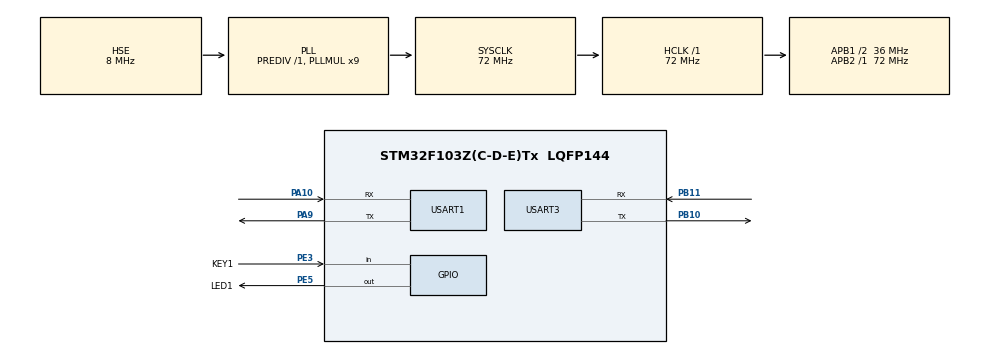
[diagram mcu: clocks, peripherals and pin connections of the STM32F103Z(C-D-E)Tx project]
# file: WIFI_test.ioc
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Mcu.Family=STM32F1
Mcu.Name=STM32F103Z(C-D-E)Tx
Mcu.Package=LQFP144
NVIC.PriorityGroup=NVIC_PRIORITYGROUP_4
NVIC.TIM2_IRQn=true\:1\:0\:true\:false\:true\:true\:true
NVIC.USART1_IRQn=true\:3\:0\:true\:false\:true\:true\:true
NVIC.USART3_IRQn=true\:2\:0\:true\:false\:true\:true\:true
OSC_IN.Mode=HSE-External-Oscillator
OSC_IN.Signal=RCC_OSC_IN
OSC_OUT.Mode=HSE-External-Oscillator
OSC_OUT.Signal=RCC_OSC_OUT
PA10.Mode=Asynchronous
PA10.Signal=USART1_RX
PA13.Mode=Serial_Wire
PA13.Signal=SYS_JTMS-SWDIO
PA14.Mode=Serial_Wire
PA14.Signal=SYS_JTCK-SWCLK
PA9.Mode=Asynchronous
PA9.Signal=USART1_TX
PB10.Mode=Asynchronous
PB10.Signal=USART3_TX
PB11.Mode=Asynchronous
PB11.Signal=USART3_RX
PC14-OSC32_IN.Mode=LSE-External-Oscillator
PC14-OSC32_IN.Signal=RCC_OSC32_IN
PC15-OSC32_OUT.Mode=LSE-External-Oscillator
PC15-OSC32_OUT.Signal=RCC_OSC32_OUT
PE3.GPIO_Label=KEY1
PE3.GPIO_PuPd=GPIO_PULLUP
PE3.Signal=GPIO_Input
PE5.GPIO_Label=LED1
PE5.GPIO_ModeDefaultOutputPP=GPIO_MODE_OUTPUT_PP
PE5.GPIO_PuPd=GPIO_PULLUP
PE5.PinState=GPIO_PIN_SET
PE5.Signal=GPIO_Output
ProjectManager.HeapSize=0x800
ProjectManager.StackSize=0x800
ProjectManager.TargetToolchain=MDK-ARM V5
RCC.AHBFreq_Value=72000000
RCC.APB1CLKDivider=RCC_HCLK_DIV2
RCC.APB1Freq_Value=36000000
RCC.APB1TimFreq_Value=72000000
RCC.APB2Freq_Value=72000000
RCC.APB2TimFreq_Value=72000000
RCC.HCLKFreq_Value=72000000
RCC.PLLMUL=RCC_PLL_MUL9
RCC.PLLSourceVirtual=RCC_PLLSOURCE_HSE
RCC.SYSCLKFreq_VALUE=72000000
RCC.SYSCLKSource=RCC_SYSCLKSOURCE_PLLCLK
RCC.USBFreq_Value=72000000
TIM2.Period=1000-1
TIM2.Prescaler=7200-1
USART1.VirtualMode=VM_ASYNC
USART3.VirtualMode=VM_ASYNC
VP_TIM2_VS_ClockSourceINT.Mode=Internal
board=custom

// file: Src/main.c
/* USER CODE BEGIN Header */
/**
  ******************************************************************************
  * @file           : main.c
  * @brief          : Main program body
  ******************************************************************************
  * @attention
  *
  * <h2><center>&copy; Copyright (c) 2020 STMicroelectronics.
  * All rights reserved.</center></h2>
  *
  * This software component is licensed by ST under BSD 3-Clause license,
  * the "License"; You may not use this file except in compliance with the
  * License. You may obtain a copy of the License at:
  *                        opensource.org/licenses/BSD-3-Clause
  *
  ******************************************************************************
  */
/* USER CODE END Header */

#include "main.h"
#include "tim.h"
#include "usart.h"
#include "gpio.h"

/* USER CODE BEGIN Includes */
#include "esp8266.h"
#include "MQTTPacket.h"
#include "transport.h"
#include "IOT_baidu.h"
#include "cJSON.h"
#include "sys.h"
#include "delay.h"
#include "dht11.h"
/* USER CODE END Includes */

void SystemClock_Config(void);

/* USER CODE BEGIN 0 */
uint8_t KEY_STATUS;
uint8_t LED_STATUS;
/* USER CODE END 0 */

int main(void)
{
  /* USER CODE BEGIN 1 */
  u8 temperature;
	u8 humidity;
  /* USER CODE END 1 */

  /* MCU Configuration--------------------------------------------------------*/

  /* Reset of all peripherals, Initializes the Flash interface and the Systick. */
  HAL_Init();

  /* Configure the system clock */
  SystemClock_Config();

  /* Initialize all configured peripherals */
  MX_GPIO_Init();
  MX_TIM2_Init();
  MX_USART1_UART_Init();
  MX_USART3_UART_Init();
  /* USER CODE BEGIN 2 */
  HAL_UART_Receive_IT(&huart3, &temp_rx, 1);
  HAL_TIM_Base_Start_IT(&htim2);
	delay_init(72);
  //__HAL_RCC_TIM2_CLK_ENABLE();
	u1_printf("开始配置");
	HAL_Delay(1000);
	HAL_Delay(1000);
	HAL_Delay(1000);

  /* USER CODE END 2 */

  /* Infinite loop */
  /* USER CODE BEGIN WHILE */
  while(esp8266_Connect_IOTServer());
  while(IOT_baidu_connect());
	while(DHT11_Init())	//DHT11初始化
	{
		HAL_Delay(200);
		u1_printf("DHT11 failed\r\n");
	}
  while (1)
  {
    /* USER CODE END WHILE */

    /* USER CODE BEGIN 3 */
	  HAL_Delay(1000);
	  if(HAL_GPIO_ReadPin(KEY1_GPIO_Port,KEY1_Pin))
	  {
		KEY_STATUS = 1;
	  }
	  else{
		KEY_STATUS = 0;
	  }
	  DHT11_Read_Data(&temperature,&humidity);

	  cJSON * pJsonRoot = NULL;
	  pJsonRoot = cJSON_CreateObject();//
	  cJSON_AddStringToObject(pJsonRoot, "id", "12345");//
	  cJSON_AddStringToObject(pJsonRoot, "method", "thing.event.property.post");//
	  cJSON * pJsonChild = cJSON_CreateObject();//
	  cJSON_AddNumberToObject(pJsonChild, "LEDSwitch", KEY_STATUS);
		cJSON_AddNumberToObject(pJsonChild, "CurrentHumidity",humidity);
		cJSON_AddNumberToObject(pJsonChild, "CurrentTemperature",temperature);
	  cJSON_AddItemToObject(pJsonRoot, "params", pJsonChild);//

	  char * lpJsonStr = cJSON_Print(pJsonRoot);
		//cJSON_Delete(pJsonChild);
	  cJSON_Delete(pJsonRoot);//
	  u1_printf("time:%s\r\n",lpJsonStr);
	  IOT_baidu_connect_publish(P_TOPIC_NAME,lpJsonStr);
		free(lpJsonStr);

  }
  /* USER CODE END 3 */
}

void SystemClock_Config(void)
{
  RCC_OscInitTypeDef RCC_OscInitStruct = {0};
  RCC_ClkInitTypeDef RCC_ClkInitStruct = {0};

  /** Initializes the CPU, AHB and APB busses clocks
  */
  RCC_OscInitStruct.OscillatorType = RCC_OSCILLATORTYPE_HSE;
  RCC_OscInitStruct.HSEState = RCC_HSE_ON;
  RCC_OscInitStruct.HSEPredivValue = RCC_HSE_PREDIV_DIV1;
  RCC_OscInitStruct.HSIState = RCC_HSI_ON;
  RCC_OscInitStruct.PLL.PLLState = RCC_PLL_ON;
  RCC_OscInitStruct.PLL.PLLSource = RCC_PLLSOURCE_HSE;
  RCC_OscInitStruct.PLL.PLLMUL = RCC_PLL_MUL9;
  if (HAL_RCC_OscConfig(&RCC_OscInitStruct) != HAL_OK)
  {
    Error_Handler();
  }
  /** Initializes the CPU, AHB and APB busses clocks
  */
  RCC_ClkInitStruct.ClockType = RCC_CLOCKTYPE_HCLK|RCC_CLOCKTYPE_SYSCLK
                              |RCC_CLOCKTYPE_PCLK1|RCC_CLOCKTYPE_PCLK2;
  RCC_ClkInitStruct.SYSCLKSource = RCC_SYSCLKSOURCE_PLLCLK;
  RCC_ClkInitStruct.AHBCLKDivider = RCC_SYSCLK_DIV1;
  RCC_ClkInitStruct.APB1CLKDivider = RCC_HCLK_DIV2;
  RCC_ClkInitStruct.APB2CLKDivider = RCC_HCLK_DIV1;

  if (HAL_RCC_ClockConfig(&RCC_ClkInitStruct, FLASH_LATENCY_2) != HAL_OK)
  {
    Error_Handler();
  }
}

void Error_Handler(void)
{
}

/************************ (C) COPYRIGHT STMicroelectronics *****END OF FILE****/
